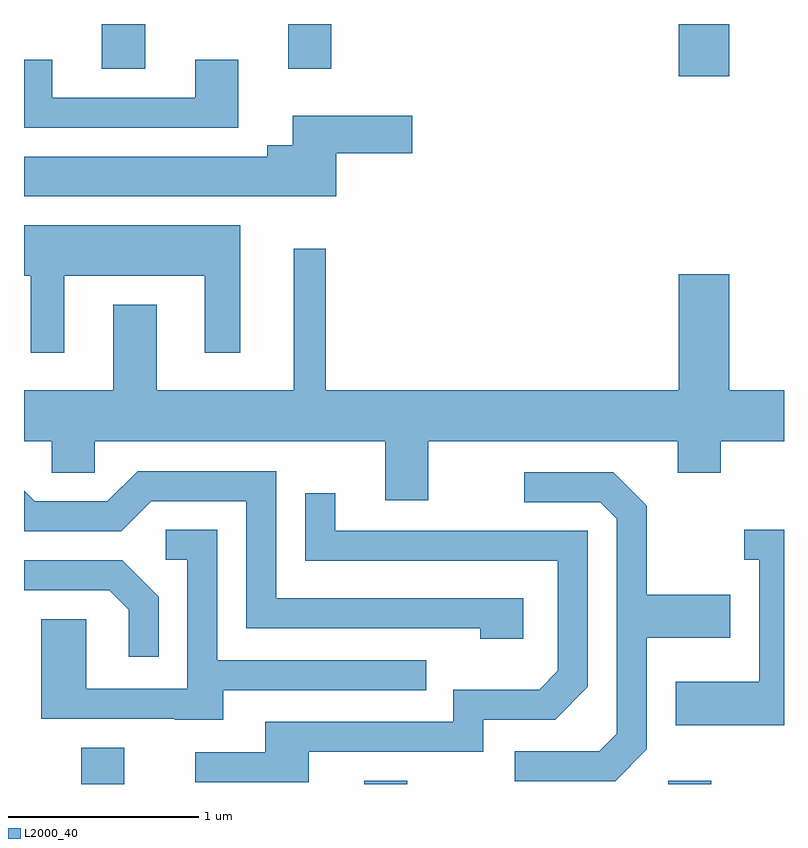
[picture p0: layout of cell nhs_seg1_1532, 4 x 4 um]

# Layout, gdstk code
import gdstk
lib = gdstk.Library(unit=1e-6, precision=1e-09)
def R(c, l, rs):  # rectangles x0, y0, x1, y1
    for r in rs: c.add(gdstk.rectangle(r[:2], r[2:], *l))
def P(c, l, *ps):  # polygons
    for p in ps: c.add(gdstk.Polygon(p, *l))
L2000_40 = (2000, 40)

nhs_seg1_1532 = lib.new_cell('nhs_seg1_1532')
R(nhs_seg1_1532, L2000_40, [(231.911,957.712,232.139,957.904), (233.401,957.712,233.629,957.729), (235.001,957.712,235.229,957.729), (235.056,961.436,235.324,961.712), (232.021,961.476,232.249,961.712), (233.001,961.476,233.229,961.712)])
P(nhs_seg1_1532, L2000_40, [(232.739,961.524),(232.511,961.524),(232.511,961.324),(231.759,961.324),(231.759,961.524),(231.611,961.524),(231.611,961.166),(232.739,961.166)],
  [(233.254,961.031),(233.654,961.031),(233.654,961.229),(233.026,961.229),(233.026,961.074),(232.891,961.074),(232.891,961.014),(231.611,961.014),(231.611,960.806),(233.254,960.806)],
  [(231.824,960.386),(232.561,960.386),(232.561,959.981),(232.749,959.981),(232.749,960.654),(231.611,960.654),(231.611,960.386),(231.646,960.386),(231.646,959.981),(231.824,959.981)],
  [(233.739,959.516),(235.051,959.516),(235.051,959.351),(235.279,959.351),(235.279,959.516),(235.611,959.516),(235.611,959.784),(235.324,959.784),(235.324,960.394),(235.056,960.394),(235.056,959.784),(233.199,959.784),(233.199,960.528),(233.031,960.528),(233.031,959.784),(232.309,959.784),(232.309,960.234),(232.081,960.234),(232.081,959.784),(231.611,959.784),(231.611,959.516),(231.756,959.516),(231.756,959.351),(231.984,959.351),(231.984,959.516),(233.511,959.516),(233.511,959.206),(233.739,959.206)],
  [(234.239,958.689),(232.939,958.689),(232.939,959.359),(232.209,959.359),(232.049,959.199),(231.667,959.199),(231.611,959.255),(231.611,959.041),(232.122,959.041),(232.282,959.201),(232.781,959.201),(232.781,958.531),(234.011,958.531),(234.011,958.476),(234.239,958.476)],
  [(234.889,957.894),(234.889,958.481),(235.329,958.481),(235.329,958.709),(234.889,958.709),(234.889,959.177),(234.712,959.354),(234.243,959.354),(234.243,959.196),(234.644,959.196),(234.731,959.109),(234.731,957.977),(234.639,957.884),(234.193,957.884),(234.193,957.726),(234.722,957.726)],
  [(233.109,957.881),(234.029,957.881),(234.029,958.051),(234.407,958.051),(234.579,958.224),(234.579,959.044),(233.249,959.044),(233.249,959.243),(233.091,959.243),(233.091,958.886),(234.421,958.886),(234.421,958.307),(234.324,958.209),(233.871,958.209),(233.871,958.039),(232.881,958.039),(232.881,957.879),(232.513,957.879),(232.513,957.721),(233.109,957.721)],
  [(235.611,959.049),(235.403,959.049),(235.403,958.891),(235.481,958.891),(235.481,958.249),(235.041,958.249),(235.041,958.021),(235.611,958.021)],
  [(232.659,958.206),(233.728,958.206),(233.728,958.364),(232.629,958.364),(232.629,959.049),(232.358,959.049),(232.358,958.891),(232.471,958.891),(232.471,958.214),(231.939,958.214),(231.939,958.579),(231.701,958.579),(231.701,958.056),(232.405,958.056),(232.405,958.051),(232.659,958.051)],
  [(232.319,958.697),(232.127,958.889),(231.611,958.889),(231.611,958.731),(232.059,958.731),(232.161,958.629),(232.161,958.383),(232.319,958.383)])

lib.write_gds('nhs_seg1_1532.gds')
